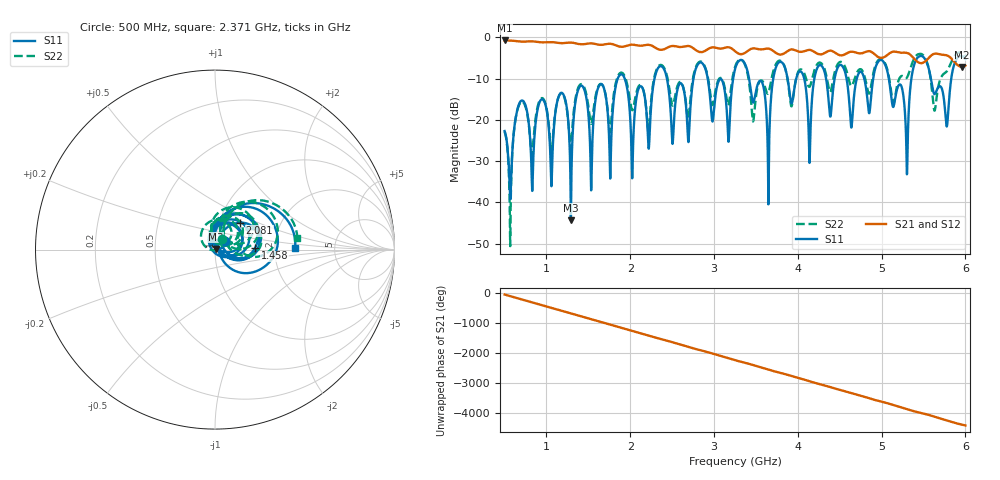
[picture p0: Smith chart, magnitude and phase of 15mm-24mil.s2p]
# Hz S DB R 50
! CMT, C2409, 19096212, 19.2.3/2
! Date: 3/29/2022 2:31:33 AM
! Data: Format (Calibration Info)
! Freq	S11:dB/Ang(F2)	S21:dB/Ang(F2)	S12:dB/Ang(F2)	S22:dB/Ang(F2)
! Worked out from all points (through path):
!   5001 points, 500 MHz to 6 GHz, reference 50 ohm
!   highest |S21| = -0.72 dB at 501 MHz (marker M1); lowest = -7.1 dB at 5.958 GHz (marker M2)
!   group delay of S21, straight-line fit = 2.21 ns
!   lowest |S11| = -44.4 dB at 1.291 GHz (marker M3), VSWR 1.01, Z = 50.5 + j0.393 ohm
!   |S11| at or under -10 dB: start of sweep to 1.85 GHz; 1.934 GHz to 2.289 GHz (354.7 MHz wide, 16.8 % of centre); 2.438 GHz to 2.754 GHz (315.9 MHz wide, 12.2 % of centre)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
!   |S22| runs from -50.6 to -3.6 dB; largest |S21 - S12| = 0.018
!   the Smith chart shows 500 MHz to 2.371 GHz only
!   S11 on the Smith chart (normalised r, x): 500 MHz: 1.11, +0.11; 1.458 GHz: 1.57, +0.02; 2.081 GHz: 1.26, +0.39; 2.371 GHz: 2.62, +0.06
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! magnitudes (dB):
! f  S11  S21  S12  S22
! 500 MHz  -22.7  -0.7  -0.7  -22.8
! 501 MHz  -22.8  -0.7  -0.7  -22.9
! 566.4 MHz  -39.0  -0.8  -0.7  -50.5
! 687.6 MHz  -15.6  -1.0  -1.0  -15.8
! 829.7 MHz  -37.2  -0.9  -0.9  -28.3
! 914.1 MHz  -15.9  -1.1  -1.1  -15.5
! 1.058 GHz  -36.1  -1.1  -1.1  -28.3
! 1.197 GHz  -13.7  -1.4  -1.4  -13.8
! 1.291 GHz  -44.4  -1.2  -1.2  -26.8
! 1.417 GHz  -11.7  -1.6  -1.6  -11.3
! 1.458 GHz  -13.0  -1.6  -1.6  -12.5
! 1.533 GHz  -37.1  -1.4  -1.4  -21.0
! 1.633 GHz  -11.6  -1.8  -1.8  -11.4
! 1.76 GHz  -34.1  -1.5  -1.5  -22.9
! 2.081 GHz  -13.8  -1.9  -1.9  -12.8
! 2.334 GHz  -7.3  -2.8  -2.9  -7.0
! 2.371 GHz  -7.0  -3.0  -3.0  -6.7
! 3.251 GHz  -7.6  -3.3  -3.3  -7.1
! 4.168 GHz  -15.2  -3.2  -3.2  -10.2
! 5.085 GHz  -9.8  -4.0  -3.9  -9.3
! 5.958 GHz  -4.5  -7.1  -7.1  -3.7
! 6 GHz  -5.2  -6.8  -6.8  -4.5
